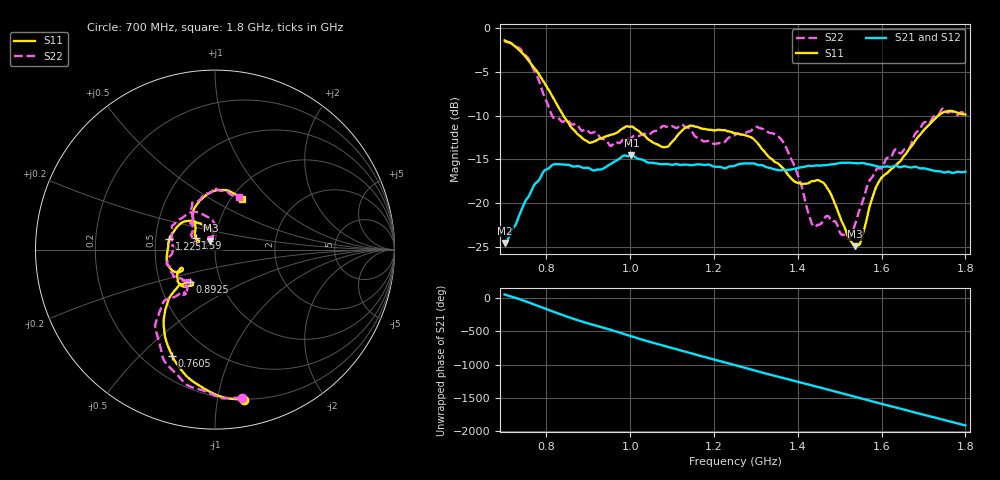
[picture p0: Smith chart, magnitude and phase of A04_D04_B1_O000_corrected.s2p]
! Created with skrf 1.9.0 (http://scikit-rf.org).
# Hz S RI R 50.0
!freq ReS11 ImS11 ReS21 ImS21 ReS12 ImS12 ReS22 ImS22
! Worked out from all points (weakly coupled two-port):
!   1601 points, 700 MHz to 1.8 GHz, reference 50 ohm
!   highest |S21| = -14.54 dB at 1.002 GHz (marker M1); lowest = -24.5 dB at 701.4 MHz (marker M2)
!   lowest |S11| = -24.9 dB at 1.537 GHz (marker M3), VSWR 1.12, Z = 47.2 + j4.78 ohm
!   |S11| at or under -10 dB: 840.3 MHz to 1.735 GHz (894.5 MHz wide, 69.5 % of centre)
!   |S22| runs from -24.1 to -1.5 dB; largest |S21 - S12| = 0.0035
!   S11 on the Smith chart (normalised r, x): 700 MHz: 0.20, -1.19; 760.5 MHz: 0.32, -0.63; 892.5 MHz: 0.71, -0.27; 1.225 GHz: 0.59, +0.07; 1.59 GHz: 0.80, +0.11; 1.8 GHz: 1.12, +0.71
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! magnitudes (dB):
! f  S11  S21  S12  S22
! 700 MHz  -1.4  -24.5  -24.3  -1.5
! 701.4 MHz  -1.4  -24.5  -24.2  -1.5
! 760.5 MHz  -3.9  -19.0  -18.8  -3.8
! 814.8 MHz  -7.9  -15.6  -15.7  -10.1
! 883.6 MHz  -12.5  -15.9  -15.8  -11.7
! 892.5 MHz  -12.8  -16.0  -16.0  -11.6
! 953 MHz  -12.2  -15.5  -15.5  -13.4
! 1.002 GHz  -11.2  -14.5  -14.6  -12.6
! 1.067 GHz  -13.3  -15.5  -15.4  -11.6
! 1.141 GHz  -11.2  -15.7  -15.6  -11.4
! 1.225 GHz  -11.6  -16.0  -16.0  -13.0
! 1.25 GHz  -12.0  -15.7  -15.6  -12.2
! 1.359 GHz  -15.7  -16.2  -16.2  -12.6
! 1.434 GHz  -17.5  -15.8  -15.7  -22.4
! 1.469 GHz  -18.2  -15.7  -15.6  -21.5
! 1.519 GHz  -23.7  -15.4  -15.4  -24.1
! 1.537 GHz  -24.9  -15.4  -15.4  -22.4
! 1.55 GHz  -24.4  -15.4  -15.4  -20.3
! 1.59 GHz  -17.9  -15.8  -15.8  -16.0
! 1.617 GHz  -16.4  -15.8  -15.8  -14.8
! 1.738 GHz  -9.9  -16.4  -16.4  -9.7
! 1.8 GHz  -9.9  -16.4  -16.4  -9.8
